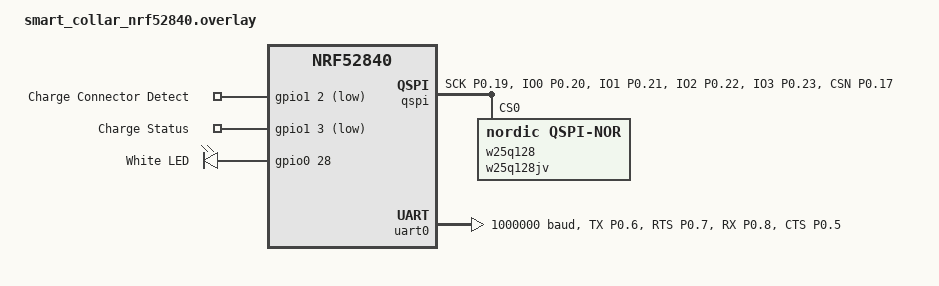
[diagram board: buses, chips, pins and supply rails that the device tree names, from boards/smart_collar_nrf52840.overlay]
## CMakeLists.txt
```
cmake_minimum_required(VERSION 3.20.0)
find_package(Zephyr REQUIRED HINTS $ENV{ZEPHYR_BASE})

project(smart_collar_nrf52840)

# Common include path
set(COMMON_DIR ${CMAKE_CURRENT_SOURCE_DIR}/../common)

target_include_directories(app PRIVATE
    ${COMMON_DIR}/include
    src
)

target_sources(app PRIVATE
    src/main.c
    src/ble/ble_manager.c
    src/ble/services/pet_tracker_service.c
    src/ble/services/battery_service.c
    src/ble/services/device_info_service.c
    src/ble/beacon/beacon_manager.c
    src/dfu/dfu_manager.c
    src/flash/flash_manager.c
    src/charge/charge_manager.c
    src/uart_bridge/uart_bridge.c
    ${COMMON_DIR}/src/protocol.c
    ${COMMON_DIR}/src/pet_data.c
)
```

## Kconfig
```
mainmenu "Smart Collar nRF52840 Configuration"

config SMART_COLLAR_BLE_ENABLE
    bool "Enable BLE functionality"
    default y

config SMART_COLLAR_DFU_ENABLE
    bool "Enable DFU/OTA functionality"
    default y

config SMART_COLLAR_FLASH_ENABLE
    bool "Enable external flash storage"
    default y

config SMART_COLLAR_CHARGE_ENABLE
    bool "Enable charge manager"
    default y

config SMART_COLLAR_BEACON_ENABLE
    bool "Enable iBeacon advertising"
    default y

source "Kconfig.zephyr"
```

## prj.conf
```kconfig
# ============================================================
# Smart Collar nRF52840 – Project Configuration
# Zephyr / nRF Connect SDK v2.7+
# ============================================================

# --------------- Bluetooth LE --------------------------------
CONFIG_BT=y
CONFIG_BT_PERIPHERAL=y
CONFIG_BT_DEVICE_NAME="PetCollar"
CONFIG_BT_DEVICE_APPEARANCE=833
CONFIG_BT_MAX_CONN=2
CONFIG_BT_MAX_PAIRED=2
CONFIG_BT_SMP=y
CONFIG_BT_PRIVACY=y
CONFIG_BT_SIGNING=y
CONFIG_BT_BONDABLE=y
CONFIG_BT_GATT_DYNAMIC_DB=y
CONFIG_BT_GATT_CLIENT=n
CONFIG_BT_GAP_PERIPHERAL_PREF_PARAMS=y
CONFIG_BT_CONN_CTX_LIB=y

# Standard Profiles
CONFIG_BT_DIS=y
CONFIG_BT_DIS_PNP=y
CONFIG_BT_DIS_MANUF="SmartCollar Inc"
CONFIG_BT_DIS_MODEL="SC-1"
CONFIG_BT_DIS_HW_REV="1.0"
CONFIG_BT_DIS_FW_REV="1.0.0"
CONFIG_BT_DIS_SW_REV="1.0.0"
CONFIG_BT_BAS=y
CONFIG_BT_BAS_NOTIFY_INTERVAL=60

# --------------- MCUmgr / DFU --------------------------------
CONFIG_MCUMGR=y
CONFIG_MCUMGR_TRANSPORT_BT=y
CONFIG_MCUMGR_GRP_IMG=y
CONFIG_MCUMGR_GRP_OS=y
CONFIG_MCUMGR_GRP_STAT=n
CONFIG_BOOTLOADER_MCUBOOT=y
CONFIG_IMG_MANAGER=y
CONFIG_STREAM_FLASH=y
CONFIG_FLASH_MAP=y
CONFIG_FLASH_PAGE_LAYOUT=y

# --------------- Flash / Storage -----------------------------
CONFIG_FLASH=y
CONFIG_SPI=y
CONFIG_QSPI_NOR=y
CONFIG_NORDIC_QSPI_NOR=y
CONFIG_NORDIC_QSPI_NOR_FLASH_LAYOUT_PAGE_SIZE=4096
CONFIG_NVS=y
CONFIG_NVS_SECTOR_SIZE_MULT=2
CONFIG_NVS_SECTOR_COUNT=4
CONFIG_SETTINGS=y
CONFIG_SETTINGS_NVS=y

# --------------- GPIO / UART ---------------------------------
CONFIG_GPIO=y
CONFIG_UART_ASYNC_API=y
CONFIG_UART_INTERRUPT_DRIVEN=n
CONFIG_SERIAL=y

# --------------- USB CDC ACM ---------------------------------
CONFIG_USB_DEVICE_STACK=y
CONFIG_USB_CDC_ACM=y
CONFIG_USB_DEVICE_MANUFACTURER="SmartCollar Inc"
CONFIG_USB_DEVICE_PRODUCT="SmartCollar Data"
CONFIG_USB_DEVICE_VID=0x1915
CONFIG_USB_DEVICE_PID=0x520F

# --------------- Logging -------------------------------------
CONFIG_LOG=y
CONFIG_LOG_DEFAULT_LEVEL=3
CONFIG_LOG_BUFFER_SIZE=2048
CONFIG_LOG_BACKEND_UART=y
CONFIG_USE_SEGGER_RTT=n

# --------------- Kernel / Threading -------------------------
CONFIG_MAIN_STACK_SIZE=4096
CONFIG_SYSTEM_WORKQUEUE_STACK_SIZE=2048
CONFIG_HEAP_MEM_POOL_SIZE=32768
CONFIG_INIT_STACKS=y

# --------------- Misc ----------------------------------------
CONFIG_REBOOT=y
CONFIG_WATCHDOG=y
CONFIG_NEWLIB_LIBC=y
CONFIG_CBPRINTF_FP_SUPPORT=y
CONFIG_NVS=y

# --------------- Custom modules ------------------------------
CONFIG_SMART_COLLAR_BLE_ENABLE=y
CONFIG_SMART_COLLAR_DFU_ENABLE=y
CONFIG_SMART_COLLAR_FLASH_ENABLE=y
CONFIG_SMART_COLLAR_CHARGE_ENABLE=y
CONFIG_SMART_COLLAR_BEACON_ENABLE=y
```

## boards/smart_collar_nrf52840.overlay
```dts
/*
 * Smart Collar nRF52840 – Device Tree Overlay
 *
 * Pin assignments (example mapping – adjust to actual PCB schematic):
 *
 *   QSPI (W25Q128 16 MB NOR flash)
 *     SCK  : P0.19
 *     IO0  : P0.20  (MOSI / SIO0)
 *     IO1  : P0.21  (MISO / SIO1)
 *     IO2  : P0.22  (WP   / SIO2)
 *     IO3  : P0.23  (HOLD / SIO3)
 *     CS   : P0.17
 *
 *   UART0 – bridge to nRF9160 (1 Mbps)
 *     TX   : P0.06
 *     RX   : P0.08
 *     RTS  : P0.07  (flow control)
 *     CTS  : P0.05  (flow control)
 *
 *   Charge detection
 *     CHG_DET   : P1.02  (magnetic connector, active-low)
 *     CHG_STAT  : P1.03  (nPM1100 CHG_STAT, active-low)
 *
 *   LED (shared with nRF9160 via GPIO; only white LED on 52840 side)
 *     LED_WHITE : P0.28
 */

/ {
	chosen {
		zephyr,flash-controller = &qspi;
	};

	/* Charge / connector GPIOs exposed as a GPIO-keys node */
	charge_gpios {
		compatible = "gpio-keys";
		chg_detect: chg_detect {
			label = "Charge Connector Detect";
			gpios = <&gpio1 2 (GPIO_ACTIVE_LOW | GPIO_PULL_UP)>;
		};
		chg_stat: chg_stat {
			label = "Charge Status";
			gpios = <&gpio1 3 (GPIO_ACTIVE_LOW | GPIO_PULL_UP)>;
		};
	};

	/* White LED */
	leds {
		compatible = "gpio-leds";
		led_white: led_white {
			label = "White LED";
			gpios = <&gpio0 28 GPIO_ACTIVE_HIGH>;
		};
	};

	aliases {
		led0         = &led_white;
		chg-detect   = &chg_detect;
		chg-stat     = &chg_stat;
		uart-bridge  = &uart0;
		ext-flash    = &w25q128;
	};
};

/* ---------------------------------------------------------------
 * QSPI – W25Q128 (16 MB NOR flash)
 * ------------------------------------------------------------- */
&qspi {
	status = "okay";
	pinctrl-0 = <&qspi_default>;
	pinctrl-1 = <&qspi_sleep>;
	pinctrl-names = "default", "sleep";

	w25q128: w25q128jv@0 {
		compatible = "nordic,qspi-nor";
		reg = <0>;
		writeoc = "pp4io";
		readoc  = "read4io";
		sck-frequency = <8000000>;
		jedec-id = [ef 40 18];
		size = <DT_SIZE_M(128)>;
		has-dpd;
		t-enter-dpd = <3000>;
		t-exit-dpd  = <3000>;
		sfdp-bfp    = [e5 20 f1 ff  ff ff ff 03
		               44 eb 08 6b  08 3b 04 bb
		               ee ff ff ff  ff ff 00 ff
		               ff ff 00 ff  0c 20 0f 52
		               10 d8 00 ff];
	};
};

/* Pin control for QSPI */
&pinctrl {
	qspi_default: qspi_default {
		group1 {
			psels = <NRF_PSEL(QSPI_SCK,  0, 19)>,
			        <NRF_PSEL(QSPI_IO0,  0, 20)>,
			        <NRF_PSEL(QSPI_IO1,  0, 21)>,
			        <NRF_PSEL(QSPI_IO2,  0, 22)>,
			        <NRF_PSEL(QSPI_IO3,  0, 23)>,
			        <NRF_PSEL(QSPI_CSN,  0, 17)>;
		};
	};
	qspi_sleep: qspi_sleep {
		group1 {
			psels = <NRF_PSEL(QSPI_SCK,  0, 19)>,
			        <NRF_PSEL(QSPI_IO0,  0, 20)>,
			        <NRF_PSEL(QSPI_IO1,  0, 21)>,
			        <NRF_PSEL(QSPI_IO2,  0, 22)>,
			        <NRF_PSEL(QSPI_IO3,  0, 23)>,
			        <NRF_PSEL(QSPI_CSN,  0, 17)>;
			low-power-enable;
		};
	};

	/* UART0 to nRF9160 */
	uart0_default: uart0_default {
		group1 {
			psels = <NRF_PSEL(UART_TX,  0, 6)>,
			        <NRF_PSEL(UART_RTS, 0, 7)>;
		};
		group2 {
			psels = <NRF_PSEL(UART_RX,  0, 8)>,
			        <NRF_PSEL(UART_CTS, 0, 5)>;
			bias-pull-up;
		};
	};
	uart0_sleep: uart0_sleep {
		group1 {
			psels = <NRF_PSEL(UART_TX,  0, 6)>,
			        <NRF_PSEL(UART_RX,  0, 8)>,
			        <NRF_PSEL(UART_RTS, 0, 7)>,
			        <NRF_PSEL(UART_CTS, 0, 5)>;
			low-power-enable;
		};
	};
};

/* UART0 – inter-chip bridge */
&uart0 {
	status = "okay";
	compatible = "nordic,nrf-uarte";
	current-speed = <1000000>;
	hw-flow-control;
	pinctrl-0 = <&uart0_default>;
	pinctrl-1 = <&uart0_sleep>;
	pinctrl-names = "default", "sleep";
};
```

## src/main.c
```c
/*
 * Copyright (c) 2024 Smart Pet Collar Tracker
 * SPDX-License-Identifier: Apache-2.0
 *
 * nRF52840 BLE application – main entry point.
 */

#include <zephyr/kernel.h>
#include <zephyr/logging/log.h>
#include <zephyr/sys/reboot.h>
#include <zephyr/drivers/watchdog.h>
#include <zephyr/device.h>

#include "uart_bridge/uart_bridge.h"
#include "flash/flash_manager.h"
#include "ble/ble_manager.h"
#include "charge/charge_manager.h"
#include "dfu/dfu_manager.h"
#include "ble/beacon/beacon_manager.h"

LOG_MODULE_REGISTER(main, LOG_LEVEL_INF);

/* Watchdog */
#define WDT_NODE DT_ALIAS(watchdog0)

static const struct device *wdt_dev;
static int wdt_channel_id = -1;

static void wdt_callback(const struct device *dev, int channel_id)
{
	LOG_ERR("Watchdog fired – resetting");
	sys_reboot(SYS_REBOOT_COLD);
}

static int watchdog_init(void)
{
	struct wdt_timeout_cfg wdt_cfg = {
		.window  = { .min = 0U, .max = 30000U },
		.callback = wdt_callback,
		.flags   = WDT_FLAG_RESET_SOC,
	};

	if (!device_is_ready(wdt_dev)) {
		LOG_WRN("WDT device not ready – skipping");
		return 0;
	}

	wdt_channel_id = wdt_install_timeout(wdt_dev, &wdt_cfg);
	if (wdt_channel_id < 0) {
		LOG_ERR("Failed to install WDT timeout: %d", wdt_channel_id);
		return wdt_channel_id;
	}

	return wdt_setup(wdt_dev, WDT_OPT_PAUSE_HALTED_BY_DBG);
}

static void feed_watchdog(void)
{
	if (wdt_dev && wdt_channel_id >= 0) {
		wdt_feed(wdt_dev, wdt_channel_id);
	}
}

int main(void)
{
	int err;

	LOG_INF("Smart Collar nRF52840 firmware v%d.%d.%d starting",
		FW_VERSION_MAJOR, FW_VERSION_MINOR, FW_VERSION_PATCH);

	/* Watchdog */
	wdt_dev = DEVICE_DT_GET_OR_NULL(WDT_NODE);
	err = watchdog_init();
	if (err) {
		LOG_WRN("Watchdog init failed: %d", err);
	}

	/* UART bridge to nRF9160 – init first so other modules can queue msgs */
	err = uart_bridge_init();
	if (err) {
		LOG_ERR("UART bridge init failed: %d", err);
	}

	/* External NOR flash ring buffer */
	err = flash_manager_init();
	if (err) {
		LOG_ERR("Flash manager init failed: %d", err);
	}

	/* Charge / connector detection */
	err = charge_manager_init();
	if (err) {
		LOG_ERR("Charge manager init failed: %d", err);
	}

	/* BLE stack */
	err = ble_manager_init();
	if (err) {
		LOG_ERR("BLE manager init failed: %d", err);
	}

	/* Beacon (iBeacon) manager */
	err = beacon_manager_init();
	if (err) {
		LOG_ERR("Beacon manager init failed: %d", err);
	}

	/* DFU */
	err = dfu_manager_init();
	if (err) {
		LOG_ERR("DFU manager init failed: %d", err);
	}

	/* Start BLE advertising */
	ble_start_advertising(true);

	LOG_INF("All modules initialised – entering main loop");

	while (true) {
		feed_watchdog();
		k_sleep(K_SECONDS(10));
	}

	return 0;
}
```
